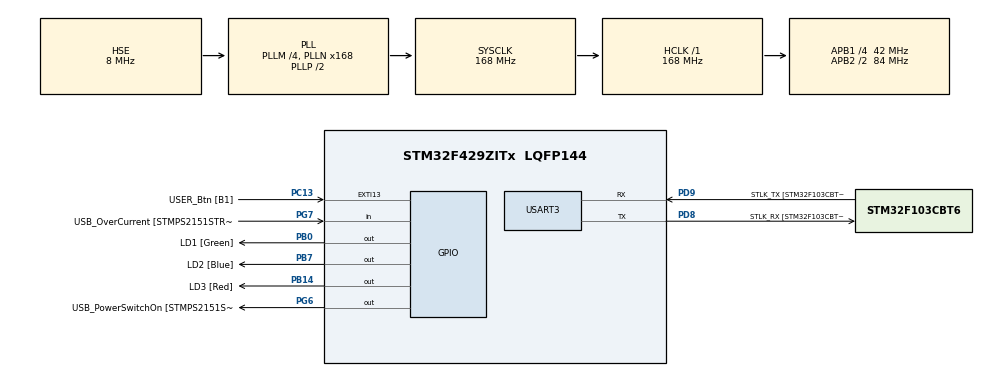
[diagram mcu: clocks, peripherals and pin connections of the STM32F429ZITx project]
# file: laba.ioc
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Dma.Request0=USART3_RX
Dma.USART3_RX.0.Direction=DMA_PERIPH_TO_MEMORY
Dma.USART3_RX.0.FIFOMode=DMA_FIFOMODE_DISABLE
Dma.USART3_RX.0.Instance=DMA1_Stream1
Dma.USART3_RX.0.MemDataAlignment=DMA_MDATAALIGN_BYTE
Dma.USART3_RX.0.MemInc=DMA_MINC_ENABLE
Dma.USART3_RX.0.Mode=DMA_NORMAL
Dma.USART3_RX.0.PeriphDataAlignment=DMA_PDATAALIGN_BYTE
Dma.USART3_RX.0.PeriphInc=DMA_PINC_DISABLE
Dma.USART3_RX.0.Priority=DMA_PRIORITY_LOW
Mcu.Family=STM32F4
Mcu.Name=STM32F429ZITx
Mcu.Package=LQFP144
NVIC.DMA1_Stream1_IRQn=true\:0\:0\:false\:false\:true\:false\:true
NVIC.EXTI15_10_IRQn=true\:0\:0\:false\:false\:true\:true\:true
NVIC.PriorityGroup=NVIC_PRIORITYGROUP_4
NVIC.USART3_IRQn=true\:0\:0\:false\:false\:true\:true\:true
PA1.GPIO_Label=RMII_REF_CLK [LAN8742A-CZ-TR_REFCLK0]
PA1.Signal=ETH_REF_CLK
PA10.GPIO_Label=USB_ID
PA10.Signal=USB_OTG_FS_ID
PA11.GPIO_Label=USB_DM
PA11.Signal=USB_OTG_FS_DM
PA12.GPIO_Label=USB_DP
PA12.Signal=USB_OTG_FS_DP
PA13.GPIO_Label=TMS
PA13.Mode=Serial_Wire
PA13.Signal=SYS_JTMS-SWDIO
PA14.GPIO_Label=TCK
PA14.Mode=Serial_Wire
PA14.Signal=SYS_JTCK-SWCLK
PA2.GPIO_Label=RMII_MDIO [LAN8742A-CZ-TR_MDIO]
PA2.Signal=ETH_MDIO
PA7.GPIO_Label=RMII_CRS_DV [LAN8742A-CZ-TR_CRS_DV]
PA7.Signal=ETH_CRS_DV
PA8.GPIO_Label=USB_SOF [TP1]
PA8.Signal=USB_OTG_FS_SOF
PA9.GPIO_Label=USB_VBUS
PA9.Signal=USB_OTG_FS_VBUS
PB0.GPIO_Label=LD1 [Green]
PB0.Signal=GPIO_Output
PB13.GPIO_Label=RMII_TXD1 [LAN8742A-CZ-TR_TXD1]
PB13.Signal=ETH_TXD1
PB14.GPIO_Label=LD3 [Red]
PB14.Signal=GPIO_Output
PB7.GPIO_Label=LD2 [Blue]
PB7.Signal=GPIO_Output
PC1.GPIO_Label=RMII_MDC [LAN8742A-CZ-TR_MDC]
PC1.Signal=ETH_MDC
PC13.GPIO_Label=USER_Btn [B1]
PC13.Signal=GPXTI13
PC14/OSC32_IN.Mode=LSE-External-Oscillator
PC14/OSC32_IN.Signal=RCC_OSC32_IN
PC15/OSC32_OUT.Mode=LSE-External-Oscillator
PC15/OSC32_OUT.Signal=RCC_OSC32_OUT
PC4.GPIO_Label=RMII_RXD0 [LAN8742A-CZ-TR_RXD0]
PC4.Signal=ETH_RXD0
PC5.GPIO_Label=RMII_RXD1 [LAN8742A-CZ-TR_RXD1]
PC5.Signal=ETH_RXD1
PD8.GPIO_Label=STLK_RX [STM32F103CBT6_PA3]
PD8.Mode=Asynchronous
PD8.Signal=USART3_TX
PD9.GPIO_Label=STLK_TX [STM32F103CBT6_PA2]
PD9.Mode=Asynchronous
PD9.Signal=USART3_RX
PG11.GPIO_Label=RMII_TX_EN [LAN8742A-CZ-TR_TXEN]
PG11.Signal=ETH_TX_EN
PG13.GPIO_Label=RMII_TXD0 [LAN8742A-CZ-TR_TXD0]
PG13.Signal=ETH_TXD0
PG6.GPIO_Label=USB_PowerSwitchOn [STMPS2151STR_EN]
PG6.Signal=GPIO_Output
PG7.GPIO_Label=USB_OverCurrent [STMPS2151STR_FAULT]
PG7.Signal=GPIO_Input
PH0/OSC_IN.GPIO_Label=MCO [STM32F103CBT6_PA8]
PH0/OSC_IN.Mode=HSE-External-Clock-Source
PH0/OSC_IN.Signal=RCC_OSC_IN
PH1/OSC_OUT.Mode=HSE-External-Clock-Source
PH1/OSC_OUT.Signal=RCC_OSC_OUT
ProjectManager.HeapSize=0x200
ProjectManager.StackSize=0x400
ProjectManager.TargetToolchain=STM32CubeIDE
RCC.48MHZClocksFreq_Value=48000000
RCC.AHBFreq_Value=168000000
RCC.APB1CLKDivider=RCC_HCLK_DIV4
RCC.APB1Freq_Value=42000000
RCC.APB1TimFreq_Value=84000000
RCC.APB2CLKDivider=RCC_HCLK_DIV2
RCC.APB2Freq_Value=84000000
RCC.APB2TimCLKDivider=2
RCC.APB2TimFreq_Value=168000000
RCC.CortexFreq_Value=168000000
RCC.HCLKFreq_Value=168000000
RCC.HSE_VALUE=8000000
RCC.HSI_VALUE=16000000
RCC.PLLM=4
RCC.PLLMUL=RCC_PLL_MUL9
RCC.PLLN=168
RCC.PLLQ=7
RCC.PLLSourceVirtual=RCC_PLLSOURCE_HSE
RCC.PRESCALERUSB=RCC_USBCLKSOURCE_PLL_DIV1_5
RCC.SYSCLKFreq_VALUE=168000000
RCC.SYSCLKSource=RCC_SYSCLKSOURCE_PLLCLK
RCC.SYSCLKSourceVirtual=RCC_SYSCLKSOURCE_PLLCLK
RCC.USBFreq_Value=48000000
RCC.VCOOutputFreq_Value=336000000
USART3.VirtualMode=VM_ASYNC
board=NUCLEO-F429ZI

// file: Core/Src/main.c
/* USER CODE BEGIN Header */
/**
 ******************************************************************************
 * @file           : main.c
 * @brief          : Main program body
 ******************************************************************************
 * @attention
 *
 * <h2><center>&copy; Copyright (c) 2021 STMicroelectronics.
 * All rights reserved.</center></h2>
 *
 * This software component is licensed by ST under BSD 3-Clause license,
 * the "License"; You may not use this file except in compliance with the
 * License. You may obtain a copy of the License at:
 *                        opensource.org/licenses/BSD-3-Clause
 *
 ******************************************************************************
 */
/* USER CODE END Header */
#include "main.h"
#include "dma.h"
#include "usart.h"
#include "gpio.h"

/* USER CODE BEGIN Includes */
#include <math.h>
#include <string.h>
/* USER CODE END Includes */

/* USER CODE BEGIN PD */
#define Buff_Size 256
/* USER CODE END PD */

/* USER CODE BEGIN PV */
uint8_t flashingMode = 0;
uint8_t Receive_buff[Buff_Size];
uint8_t UART_Message = 0;
float blinking_frequency = 1.0f;
float blinking_period = 500;
/* USER CODE END PV */

void SystemClock_Config(void);

/* USER CODE BEGIN 0 */
extern DMA_HandleTypeDef hdma_usart3_rx;
extern UART_HandleTypeDef huart3;
/* USER CODE END 0 */

int main(void)
{

  /* MCU Configuration--------------------------------------------------------*/

  /* Reset of all peripherals, Initializes the Flash interface and the Systick. */
  HAL_Init();

  /* Configure the system clock */
  SystemClock_Config();

  /* Initialize all configured peripherals */
  MX_GPIO_Init();
  MX_DMA_Init();
  MX_USART3_UART_Init();

  /* USER CODE BEGIN 2 */
	__HAL_UART_ENABLE_IT(&huart3, UART_IT_IDLE);
	HAL_UART_Receive_DMA(&huart3, Receive_buff, Buff_Size-1);
  /* USER CODE END 2 */

  /* Infinite loop */
  /* USER CODE BEGIN WHILE */
	while (1)
	{
		if (UART_Message)
		{
			uint8_t str_len = Buff_Size - __HAL_DMA_GET_COUNTER(&hdma_usart3_rx);
			HAL_UART_Receive_DMA(&huart3, Receive_buff, Buff_Size - 1);
			memset(Receive_buff+str_len-1, 0, Buff_Size-str_len);
			UART_Message = 0;
			if ((Receive_buff[0] == 'f' || Receive_buff[0] == 'F') && Receive_buff[1] == '=' && (Receive_buff[2] >= '0' || Receive_buff[2] <= '9')
					&& Receive_buff[3] == '.' && (Receive_buff[4] >= '0' || Receive_buff[4] <= '9') && !(Receive_buff[2] == '0' && Receive_buff[4] == '0') && Receive_buff[5] == 0)
			{
				blinking_frequency = (Receive_buff[2]-0x30) + ((float)Receive_buff[4]-0x30) * 0.1;
				blinking_period = 1 / blinking_frequency * 1000;
			}
			else
			{
				HAL_UART_Transmit(&huart3, (uint8_t*)"Wrong command", strlen("Wrong command"), 0xFFFFFFFF);
			}
		}
		if (flashingMode)
		{
			HAL_GPIO_WritePin(LD2_GPIO_Port, LD2_Pin, GPIO_PIN_SET);
			HAL_GPIO_WritePin(LD3_GPIO_Port, LD3_Pin, GPIO_PIN_RESET);
			HAL_Delay(blinking_period / 2);
			HAL_GPIO_WritePin(LD2_GPIO_Port, LD2_Pin, GPIO_PIN_RESET);
			HAL_GPIO_WritePin(LD3_GPIO_Port, LD3_Pin, GPIO_PIN_SET);
			HAL_Delay(blinking_period / 2);
		}
		else
		{
			HAL_GPIO_WritePin(LD2_GPIO_Port, LD2_Pin, GPIO_PIN_SET);
			HAL_GPIO_WritePin(LD3_GPIO_Port, LD3_Pin, GPIO_PIN_RESET);
			HAL_Delay(blinking_period / 4);
			HAL_GPIO_WritePin(LD2_GPIO_Port, LD2_Pin, GPIO_PIN_SET);
			HAL_GPIO_WritePin(LD3_GPIO_Port, LD3_Pin, GPIO_PIN_SET);
			HAL_Delay(blinking_period / 4);
			HAL_GPIO_WritePin(LD2_GPIO_Port, LD2_Pin, GPIO_PIN_RESET);
			HAL_GPIO_WritePin(LD3_GPIO_Port, LD3_Pin, GPIO_PIN_SET);
			HAL_Delay(blinking_period / 4);
			HAL_GPIO_WritePin(LD2_GPIO_Port, LD2_Pin, GPIO_PIN_RESET);
			HAL_GPIO_WritePin(LD3_GPIO_Port, LD3_Pin, GPIO_PIN_RESET);
			HAL_Delay(blinking_period / 4);
		}

    /* USER CODE END WHILE */

	}
}

void SystemClock_Config(void)
{
  RCC_OscInitTypeDef RCC_OscInitStruct = {0};
  RCC_ClkInitTypeDef RCC_ClkInitStruct = {0};

  /** Configure the main internal regulator output voltage
  */
  __HAL_RCC_PWR_CLK_ENABLE();
  __HAL_PWR_VOLTAGESCALING_CONFIG(PWR_REGULATOR_VOLTAGE_SCALE1);
  /** Initializes the RCC Oscillators according to the specified parameters
  * in the RCC_OscInitTypeDef structure.
  */
  RCC_OscInitStruct.OscillatorType = RCC_OSCILLATORTYPE_HSE;
  RCC_OscInitStruct.HSEState = RCC_HSE_BYPASS;
  RCC_OscInitStruct.PLL.PLLState = RCC_PLL_ON;
  RCC_OscInitStruct.PLL.PLLSource = RCC_PLLSOURCE_HSE;
  RCC_OscInitStruct.PLL.PLLM = 4;
  RCC_OscInitStruct.PLL.PLLN = 168;
  RCC_OscInitStruct.PLL.PLLP = RCC_PLLP_DIV2;
  RCC_OscInitStruct.PLL.PLLQ = 7;
  if (HAL_RCC_OscConfig(&RCC_OscInitStruct) != HAL_OK)
  {
    Error_Handler();
  }
  /** Initializes the CPU, AHB and APB buses clocks
  */
  RCC_ClkInitStruct.ClockType = RCC_CLOCKTYPE_HCLK|RCC_CLOCKTYPE_SYSCLK
                              |RCC_CLOCKTYPE_PCLK1|RCC_CLOCKTYPE_PCLK2;
  RCC_ClkInitStruct.SYSCLKSource = RCC_SYSCLKSOURCE_PLLCLK;
  RCC_ClkInitStruct.AHBCLKDivider = RCC_SYSCLK_DIV1;
  RCC_ClkInitStruct.APB1CLKDivider = RCC_HCLK_DIV4;
  RCC_ClkInitStruct.APB2CLKDivider = RCC_HCLK_DIV2;

  if (HAL_RCC_ClockConfig(&RCC_ClkInitStruct, FLASH_LATENCY_5) != HAL_OK)
  {
    Error_Handler();
  }
}

/* USER CODE BEGIN 4 */
void UART_IRQHandler(UART_HandleTypeDef *huart)
{
		if(RESET != __HAL_UART_GET_FLAG(huart, UART_FLAG_IDLE))
		{
			__HAL_UART_CLEAR_IDLEFLAG(huart);
			UART_IDLECallback(huart);
		}
}

void UART_IDLECallback(UART_HandleTypeDef *huart)
{
	HAL_UART_DMAStop(huart);
	UART_Message = 1;
}
/* USER CODE END 4 */

void Error_Handler(void)
{
	__disable_irq();
	while (1)
	{
	}
}

/************************ (C) COPYRIGHT STMicroelectronics *****END OF FILE****/
